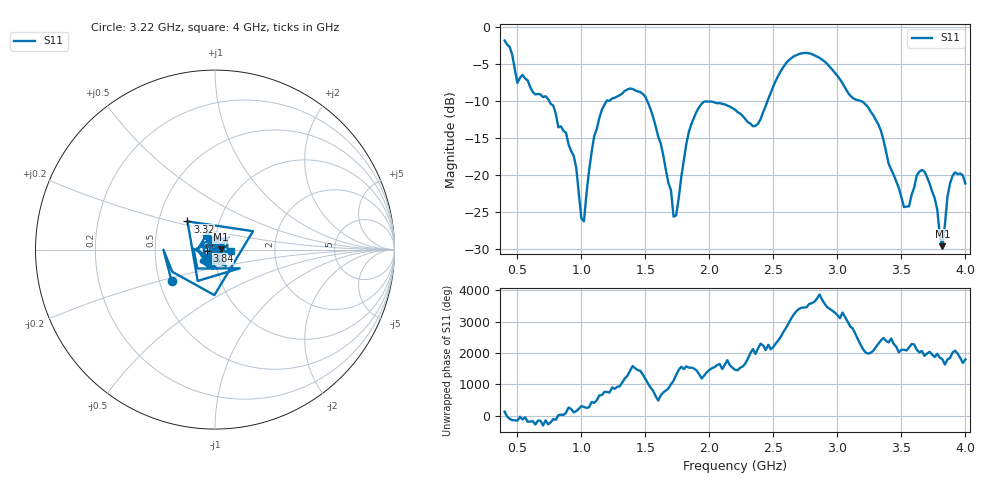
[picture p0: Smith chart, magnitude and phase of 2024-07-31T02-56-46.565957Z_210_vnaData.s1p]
!Created with skrf (http://scikit-rf.org).
# Hz S RI R 50.0
!freq ReS11 ImS11
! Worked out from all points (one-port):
!   181 points, 400 MHz to 4 GHz, reference 50 ohm
!   lowest |S11| = -29.6 dB at 3.82 GHz (marker M1), VSWR 1.07, Z = 53.4 + j0.221 ohm
!   |S11| at or under -10 dB: 748 MHz to 1.198 GHz (449.5 MHz wide, 46.2 % of centre); 1.514 GHz to 2.454 GHz (939.7 MHz wide, 47.4 % of centre); 3.181 GHz to end of sweep
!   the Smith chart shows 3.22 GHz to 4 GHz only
!   S11 on the Smith chart (normalised r, x): 3.22 GHz: 0.58, -0.23; 3.32 GHz: 0.70, +0.23; 3.84 GHz: 0.91, -0.01; 4 GHz: 1.19, -0.01
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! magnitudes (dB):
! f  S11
! 400 MHz  -1.8
! 500 MHz  -7.6
! 860 MHz  -14.0
! 940 MHz  -17.4
! 1.02 GHz  -26.2
! 1.08 GHz  -16.9
! 1.14 GHz  -12.3
! 1.3 GHz  -9.2
! 1.5 GHz  -9.4
! 1.62 GHz  -15.8
! 1.72 GHz  -25.6
! 1.76 GHz  -23.1
! 1.84 GHz  -14.1
! 1.92 GHz  -10.8
! 2.2 GHz  -11.2
! 2.38 GHz  -13.1
! 2.66 GHz  -4.0
! 2.86 GHz  -4.2
! 3.1 GHz  -9.3
! 3.22 GHz  -10.5
! 3.32 GHz  -13.2
! 3.56 GHz  -24.2
! 3.68 GHz  -19.5
! 3.76 GHz  -23.1
! 3.82 GHz  -29.6
! 3.84 GHz  -26.7
! 3.9 GHz  -20.1
! 4 GHz  -21.1
